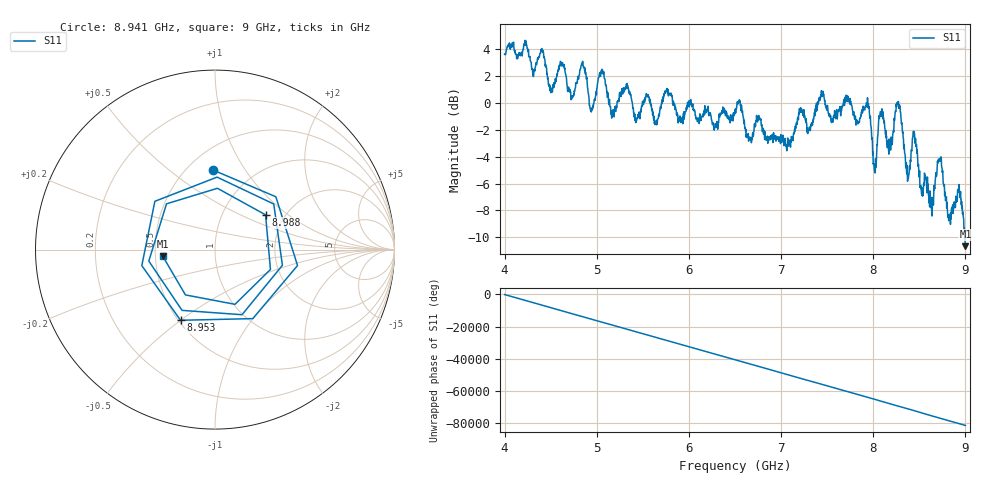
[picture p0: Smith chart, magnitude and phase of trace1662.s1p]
! Created with skrf 1.8.0 (http://scikit-rf.org).
# Hz S RI R 50.0
!freq ReS11 ImS11
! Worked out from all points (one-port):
!   1601 points, 4 GHz to 9 GHz, reference 50 ohm
!   lowest |S11| = -10.7 dB at 9 GHz (marker M1), VSWR 1.83, Z = 27.4 - j2.25 ohm
!   |S11| at or under -10 dB: 8.995064 GHz to end of sweep
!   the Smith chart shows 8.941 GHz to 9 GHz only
!   S11 on the Smith chart (normalised r, x): 8.941 GHz: 0.66, +0.73; 8.953 GHz: 0.51, -0.50; 8.988 GHz: 1.60, +0.70; 9 GHz: 0.55, -0.05
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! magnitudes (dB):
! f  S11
! 4 GHz  3.6
! 4.406 GHz  4.0
! 4.506 GHz  0.8
! 4.625 GHz  2.9
! 4.734 GHz  0.5
! 4.856 GHz  2.6
! 4.944 GHz  -0.4
! 5.053 GHz  2.2
! 5.166 GHz  -0.7
! 5.25 GHz  0.7
! 5.875 GHz  -0.9
! 6.5 GHz  -0.7
! 7.125 GHz  -2.7
! 7.75 GHz  0.3
! 7.944 GHz  -0.4
! 8.019 GHz  -4.6
! 8.081 GHz  -0.7
! 8.172 GHz  -2.7
! 8.275 GHz  0.0
! 8.375 GHz  -5.7
! 8.447 GHz  -2.3
! 8.628 GHz  -7.8
! 8.719 GHz  -4.1
! 8.822 GHz  -8.7
! 8.941 GHz  -7.1
! 8.953 GHz  -7.2
! 8.988 GHz  -9.3
! 9 GHz  -10.7
